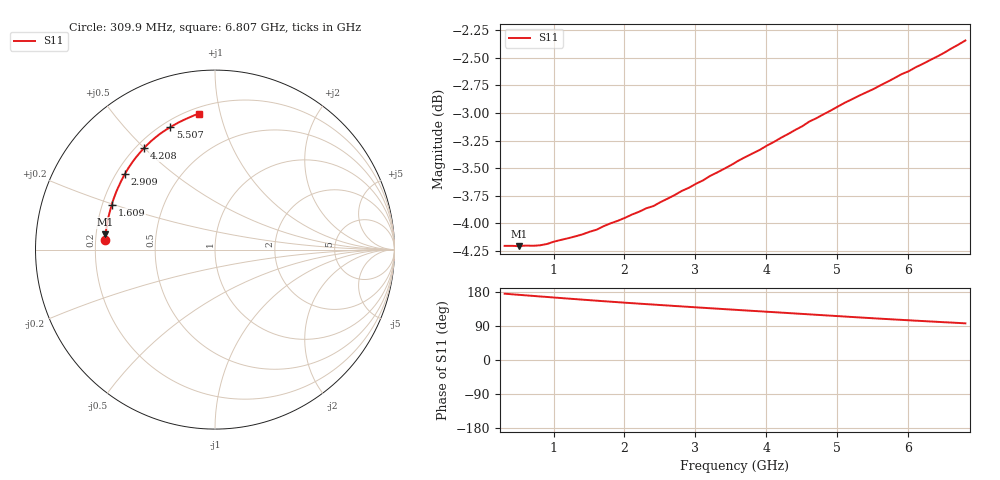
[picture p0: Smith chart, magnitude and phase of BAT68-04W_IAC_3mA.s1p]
! Infineon Technologies  Discrete & RF Semiconductors
! BAT68-04W
! IAC = 3 mA
! One-Port S-Parameters
# Hz  S  MA  R  50
!f  S11
!Hz  Mag  Ang
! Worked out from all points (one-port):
!   66 points, 309.9 MHz to 6.807 GHz, reference 50 ohm
!   lowest |S11| = -4.2 dB at 509.8 MHz (marker M1), VSWR 4.21, Z = 11.9 + j3.28 ohm
!   |S11| at or under -10 dB: nowhere
!   S11 on the Smith chart (normalised r, x): 309.9 MHz: 0.24, +0.04; 1.609 GHz: 0.24, +0.20; 2.909 GHz: 0.23, +0.34; 4.208 GHz: 0.23, +0.50; 5.507 GHz: 0.23, +0.67; 6.807 GHz: 0.24, +0.86
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3.0985e8  0.6164 175.0
5.0975e8  0.6162 172.0
8.096e8  0.6168 167.7
9.0955e8  0.6176 166.3
1.0095e9  0.6192 164.8
1.2094e9  0.6214 162.0
1.50925e9  0.6255 157.9
1.6092e9  0.6269 156.5
1.8091e9  0.6311 153.8
2.009e9  0.6347 151.2
2.30885e9  0.6411 147.5
2.8086e9  0.6527 141.4
2.90855e9  0.6549 140.2
3.30835e9  0.6654 135.4
3.6082e9  0.6737 131.9
3.90805e9  0.6813 128.5
4.2079e9  0.6899 125.0
4.4078e9  0.6956 122.8
4.6077e9  0.7017 120.5
4.8076e9  0.707 118.1
5.0075e9  0.7127 115.8
5.2074e9  0.7182 113.5
5.50725e9  0.7257 110.1
5.8071e9  0.7342 106.9
6.007e9  0.7395 104.8
6.30685e9  0.748 101.7
6.6067e9  0.7571 98.8
6.8066e9  0.7635 96.8
